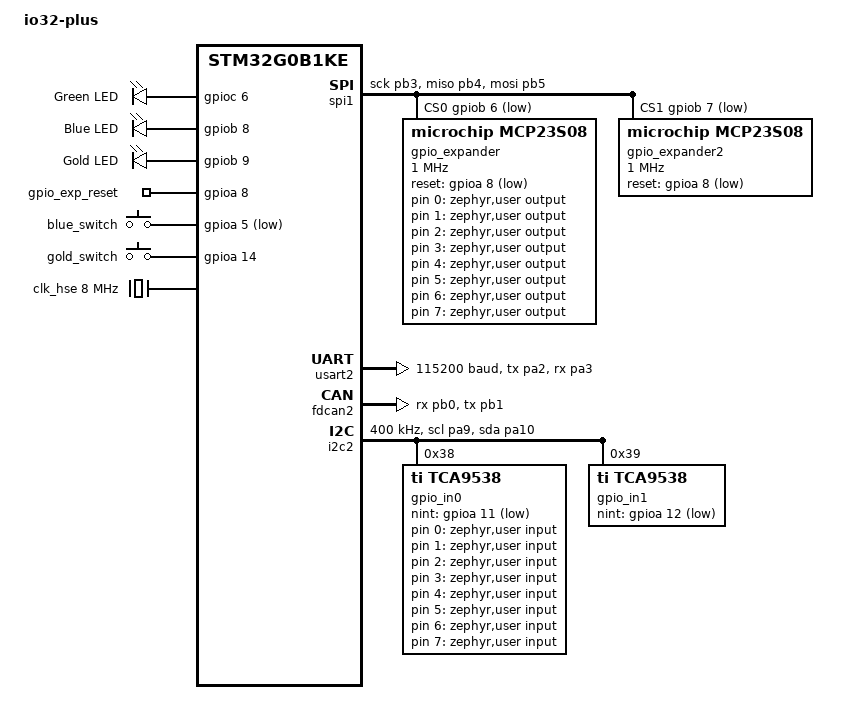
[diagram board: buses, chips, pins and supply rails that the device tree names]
/*
 * Copyright (c) 2024 Robert Middleton
 *
 * SPDX-License-Identifier: Apache-2.0
 */

/dts-v1/;
#include <st/g0/stm32g0b1Xe.dtsi>
#include <st/g0/stm32g0b1k(b-c-e)tx-pinctrl.dtsi>
#include <zephyr/dt-bindings/input/input-event-codes.h>
#include <zephyr/dt-bindings/pinctrl/stm32-pinctrl.h>
#include <zephyr/dt-bindings/pinctrl/stm32-pinctrl-common.h>

/* CPU: STM32G0B1KE
 * FLASH: 512k
 * SRAM: 128(parity-protected)/144(not parity-protected)
 */

/ {
	model = "io32-plus";
	compatible = "st,stm32g0b1ke-smtc8";

	chosen {
		zephyr,console = &usart2;
		zephyr,shell-uart = &usart2;
		zephyr,uart-mcumgr = &usart2;
		zephyr,sram = &sram0;
		zephyr,flash = &flash0;
		zephyr,code-partition = &slot0_partition;
		zephyr,canbus = &fdcan2;
	};

	aliases {
		greenled = &green_led;
		blueled = &blue_led;
		goldled = &gold_led;
		blueswitch = &blue_switch;
		gpioreset = &gpio_exp_reset;
	};

	zephyr,user {
		output-gpios = <&gpio_expander 0 GPIO_ACTIVE_HIGH>,
		         <&gpio_expander 1 GPIO_ACTIVE_HIGH>,
		         <&gpio_expander 2 GPIO_ACTIVE_HIGH>,
		         <&gpio_expander 3 GPIO_ACTIVE_HIGH>,
		         <&gpio_expander 4 GPIO_ACTIVE_HIGH>,
		         <&gpio_expander 5 GPIO_ACTIVE_HIGH>,
		         <&gpio_expander 6 GPIO_ACTIVE_HIGH>,
		         <&gpio_expander 7 GPIO_ACTIVE_HIGH>,
		         <&gpio_expander2 0 GPIO_ACTIVE_HIGH>,
		         <&gpio_expander2 1 GPIO_ACTIVE_HIGH>,
		         <&gpio_expander2 2 GPIO_ACTIVE_HIGH>,
		         <&gpio_expander2 3 GPIO_ACTIVE_HIGH>,
		         <&gpio_expander2 4 GPIO_ACTIVE_HIGH>,
		         <&gpio_expander2 5 GPIO_ACTIVE_HIGH>,
		         <&gpio_expander2 6 GPIO_ACTIVE_HIGH>,
		         <&gpio_expander2 7 GPIO_ACTIVE_HIGH>;

		input-gpios = <&gpio_in0 0 GPIO_ACTIVE_HIGH>,
				<&gpio_in0 1 GPIO_ACTIVE_HIGH>,
				<&gpio_in0 2 GPIO_ACTIVE_HIGH>,
				<&gpio_in0 3 GPIO_ACTIVE_HIGH>,
				<&gpio_in0 4 GPIO_ACTIVE_HIGH>,
				<&gpio_in0 5 GPIO_ACTIVE_HIGH>,
				<&gpio_in0 6 GPIO_ACTIVE_HIGH>,
				<&gpio_in0 7 GPIO_ACTIVE_HIGH>,
				<&gpio_in1 0 GPIO_ACTIVE_HIGH>,
				<&gpio_in1 1 GPIO_ACTIVE_HIGH>,
				<&gpio_in1 2 GPIO_ACTIVE_HIGH>,
				<&gpio_in1 3 GPIO_ACTIVE_HIGH>,
				<&gpio_in1 4 GPIO_ACTIVE_HIGH>,
				<&gpio_in1 5 GPIO_ACTIVE_HIGH>,
				<&gpio_in1 6 GPIO_ACTIVE_HIGH>,
				<&gpio_in1 7 GPIO_ACTIVE_HIGH>;
	};

	leds: leds {
		compatible = "gpio-leds";
		green_led: led_g {
			gpios = <&gpioc 6 GPIO_ACTIVE_HIGH>;
			label = "Green LED";
		};
		blue_led: led_b {
			gpios = <&gpiob 8 GPIO_ACTIVE_HIGH>;
			label = "Blue LED";
		};
		gold_led: led_gl {
			gpios = <&gpiob 9 GPIO_ACTIVE_HIGH>;
			label = "Gold LED";
		};

		gpio_exp_reset: foo {
			gpios = <&gpioa 8 GPIO_ACTIVE_HIGH>;
		};
	};

	gpio_keys {
		compatible = "gpio-keys";
		blue_switch: button_blue {
			label = "blue_switch";
			gpios = <&gpioa 5 (GPIO_ACTIVE_LOW)>;
		};
		gold_switch: button_gold {
			label = "gold_switch";
			gpios = <&gpioa 14 (GPIO_ACTIVE_HIGH)>;
		};
	};
};

/*
&clk_lsi {
	status = "okay";
};

&clk_hsi {
	status = "okay";
};

&clk_hsi48 {
	status = "okay";
	crs-usb-sof;
};
*/

&clk_hse {
	status = "okay";
	hse-bypass;
	clock-frequency = <DT_FREQ_M(8)>;
};

&pll {
	div-m = <1>;
	mul-n = <16>;
	div-p = <2>;
	div-q = <2>;
	div-r = <4>;
	clocks = <&clk_hse>;
	status = "okay";
};


&rcc {
	clocks = <&pll>;
	clock-frequency = <DT_FREQ_M(32)>;
	ahb-prescaler = <1>;
	apb1-prescaler = <1>;
};


/*
zephyr_udc0: &usb {
	pinctrl-0 = <&usb_dm_pa11 &usb_dp_pa12>;
	pinctrl-names = "default";
	status = "okay";
};
*/

/*
&usart1 {
	pinctrl-0 = <&usart1_tx_pc4 &usart1_rx_pc5>;
	pinctrl-names = "default";
	current-speed = <115200>;
	status = "disabled";
};
*/


/*
&rtc {
	clocks = <&rcc STM32_CLOCK_BUS_APB1 0x00000400>,
		 <&rcc STM32_SRC_LSI RTC_SEL(2)>;
	status = "okay";
};

&iwdg {
	status = "okay";
};
*/

&spi1 {
	pinctrl-0 = <&spi1_sck_pb3
		     &spi1_miso_pb4 &spi1_mosi_pb5>;
	pinctrl-names = "default";
	status = "okay";

	cs-gpios = <&gpiob 6 GPIO_ACTIVE_LOW>,
                   <&gpiob 7 GPIO_ACTIVE_LOW>;

	gpio_expander: mcp23s08@0 {
		compatible = "microchip,mcp23s08";
		spi-max-frequency = <1000000>;
		reg = <0x0>;
		gpio-controller;
		#gpio-cells = <2>;
		ngpios = <8>;
		reset-gpios = <&gpioa 8 GPIO_ACTIVE_LOW>;
	};
	gpio_expander2: mcp23s08@1 {
		compatible = "microchip,mcp23s08";
		spi-max-frequency = <1000000>;
		reg = <0x1>;
		gpio-controller;
		#gpio-cells = <2>;
		ngpios = <8>;
		reset-gpios = <&gpioa 8 GPIO_ACTIVE_LOW>;
	};
};

&usart2 {
	pinctrl-0 = <&usart2_tx_pa2 &usart2_rx_pa3>;
	pinctrl-names = "default";
	current-speed = <115200>;
	status = "okay";
};

&flash0 {
	partitions {
		compatible = "fixed-partitions";
		#address-cells = <1>;
		#size-cells = <1>;

		/* We have 512k of flash, so let's not worry too much about space */
		boot_partition: partition@0 {
			label = "bootloader";
			reg = <0x00000000 DT_SIZE_K(48)>;
			read-only;
		};
		slot0_partition: partition@C000 {
			label = "image-0";
			reg = <0x0000C000 DT_SIZE_K(232)>;
		};
		slot1_partition: partition@46000 {
			label = "image-1";
			reg = <0x00046000 DT_SIZE_K(232)>;
		};
	};
};

&fdcan2 {
	clocks = <&rcc STM32_CLOCK_BUS_APB1 0x00001000>,
		 <&rcc STM32_SRC_PLL_Q FDCAN_SEL(1)>;
	pinctrl-0 = <&fdcan2_rx_pb0 &fdcan2_tx_pb1>;
	pinctrl-names = "default";
	status = "okay";
};

&i2c2 {
	pinctrl-0 = <&i2c2_scl_pa9 &i2c2_sda_pa10>;
	pinctrl-names = "default";
	status = "okay";
	clock-frequency = <I2C_BITRATE_FAST>;

	gpio_in0: tca9538@38 {
		compatible = "ti,tca9538";
		reg = <0x38>;
		gpio-controller;
		#gpio-cells = <2>;
		ngpios = <8>;
		nint-gpios = <&gpioa 11 GPIO_ACTIVE_LOW>;
	};

	gpio_in1: tca9538@39 {
		compatible = "ti,tca9538";
		reg = <0x39>;
		gpio-controller;
		#gpio-cells = <2>;
		ngpios = <8>;
		nint-gpios = <&gpioa 12 GPIO_ACTIVE_LOW>;
	};
};
